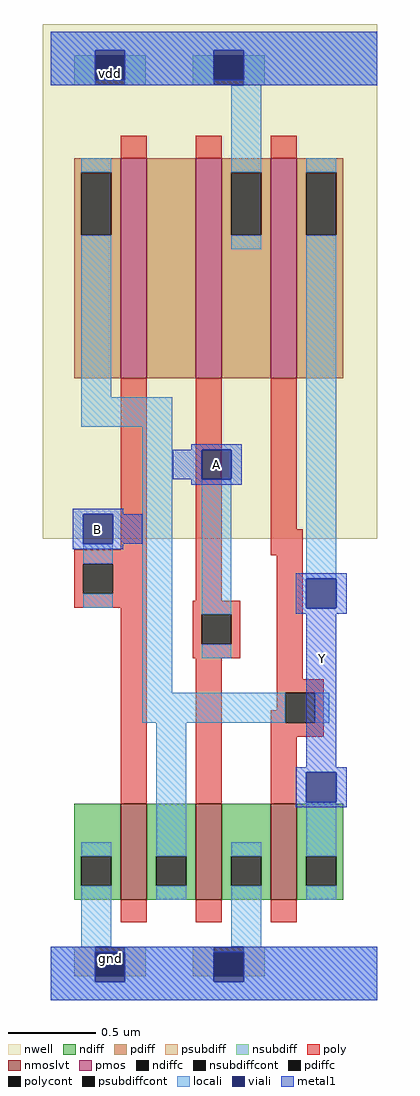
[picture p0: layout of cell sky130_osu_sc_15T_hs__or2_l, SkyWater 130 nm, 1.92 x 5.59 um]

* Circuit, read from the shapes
.subckt sky130_osu_sc_15T_hs__or2_l Y B A
XM1 n1 B gnd gnd sky130_fd_pr__nfet_01v8_lvt w=0.55 l=0.15
XM2 gnd A n1 gnd sky130_fd_pr__nfet_01v8_lvt w=0.55 l=0.15
XM3 Y n1 gnd gnd sky130_fd_pr__nfet_01v8_lvt w=0.55 l=0.15
XM4 n2 B n1 vdd sky130_fd_pr__pfet_01v8 w=1.26 l=0.15
XM5 vdd A n2 vdd sky130_fd_pr__pfet_01v8 w=1.26 l=0.15
XM6 Y n1 vdd vdd sky130_fd_pr__pfet_01v8 w=1.26 l=0.15
.ends

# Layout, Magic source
magic
tech sky130A
magscale 1 2
<< nwell >>
rect -9 529 374 1119
<< nmoslvt >>
rect 80 115 110 225
rect 166 115 196 225
rect 252 115 282 225
<< pmos >>
rect 80 713 110 965
rect 166 713 196 965
rect 252 713 282 965
<< ndiff >>
rect 27 165 80 225
rect 27 131 35 165
rect 69 131 80 165
rect 27 115 80 131
rect 110 165 166 225
rect 110 131 121 165
rect 155 131 166 165
rect 110 115 166 131
rect 196 165 252 225
rect 196 131 207 165
rect 241 131 252 165
rect 196 115 252 131
rect 282 165 335 225
rect 282 131 293 165
rect 327 131 335 165
rect 282 115 335 131
<< pdiff >>
rect 27 949 80 965
rect 27 877 35 949
rect 69 877 80 949
rect 27 713 80 877
rect 110 713 166 965
rect 196 949 252 965
rect 196 877 207 949
rect 241 877 252 949
rect 196 713 252 877
rect 282 949 335 965
rect 282 877 293 949
rect 327 877 335 949
rect 282 713 335 877
<< ndiffc >>
rect 35 131 69 165
rect 121 131 155 165
rect 207 131 241 165
rect 293 131 327 165
<< pdiffc >>
rect 35 877 69 949
rect 207 877 241 949
rect 293 877 327 949
<< psubdiff >>
rect 27 27 51 61
rect 85 27 109 61
rect 163 27 187 61
rect 221 27 245 61
<< nsubdiff >>
rect 27 1049 51 1083
rect 85 1049 109 1083
rect 163 1049 187 1083
rect 221 1049 245 1083
<< psubdiffcont >>
rect 51 27 85 61
rect 187 27 221 61
<< nsubdiffcont >>
rect 51 1049 85 1083
rect 187 1049 221 1083
<< poly >>
rect 80 965 110 991
rect 166 965 196 991
rect 252 965 282 991
rect 80 516 110 713
rect 27 500 110 516
rect 27 466 37 500
rect 71 466 110 500
rect 27 450 110 466
rect 166 458 196 713
rect 252 540 282 713
rect 252 510 289 540
rect 80 225 110 450
rect 163 442 217 458
rect 163 408 173 442
rect 207 408 217 442
rect 163 392 217 408
rect 166 225 196 392
rect 259 368 289 510
rect 259 352 313 368
rect 259 332 269 352
rect 252 318 269 332
rect 303 318 313 352
rect 252 302 313 318
rect 252 225 282 302
rect 80 89 110 115
rect 166 89 196 115
rect 252 89 282 115
<< polycont >>
rect 37 466 71 500
rect 173 408 207 442
rect 269 318 303 352
<< locali >>
rect 0 1089 374 1110
rect 0 1049 51 1089
rect 85 1049 187 1089
rect 221 1049 374 1089
rect 35 949 69 965
rect 35 691 69 877
rect 207 949 241 1049
rect 207 861 241 877
rect 293 949 327 965
rect 35 657 139 691
rect 37 500 71 523
rect 37 450 71 466
rect 105 352 139 657
rect 173 442 207 597
rect 293 483 327 877
rect 173 392 207 408
rect 105 318 269 352
rect 303 318 319 352
rect 35 165 69 181
rect 35 61 69 131
rect 121 165 155 318
rect 121 115 155 131
rect 207 165 241 181
rect 207 61 241 131
rect 293 165 327 227
rect 293 115 327 131
rect 0 21 51 61
rect 85 21 187 61
rect 221 21 374 61
rect 0 0 374 21
<< viali >>
rect 51 1083 85 1089
rect 51 1055 85 1083
rect 187 1083 221 1089
rect 187 1055 221 1083
rect 37 523 71 557
rect 173 597 207 631
rect 293 449 327 483
rect 293 227 327 261
rect 51 27 85 55
rect 51 21 85 27
rect 187 27 221 55
rect 187 21 221 27
<< metal1 >>
rect 0 1089 374 1110
rect 0 1055 51 1089
rect 85 1055 187 1089
rect 221 1055 374 1089
rect 0 1049 374 1055
rect 161 631 219 637
rect 140 597 173 631
rect 207 597 219 631
rect 161 591 219 597
rect 25 557 83 563
rect 25 523 37 557
rect 71 523 105 557
rect 25 517 83 523
rect 281 483 339 489
rect 281 449 293 483
rect 327 449 339 483
rect 281 443 339 449
rect 293 267 327 443
rect 281 261 339 267
rect 281 227 293 261
rect 327 227 339 261
rect 281 221 339 227
rect 0 55 374 61
rect 0 21 51 55
rect 85 21 187 55
rect 221 21 374 55
rect 0 0 374 21
<< labels >>
rlabel metal1 311 392 311 392 1 Y
port 1 n
rlabel viali 54 540 54 540 1 B
port 2 n
rlabel viali 190 614 190 614 1 A
port 3 n
rlabel viali 68 48 68 48 1 gnd
rlabel viali 68 1062 68 1062 1 vdd
<< end >>
